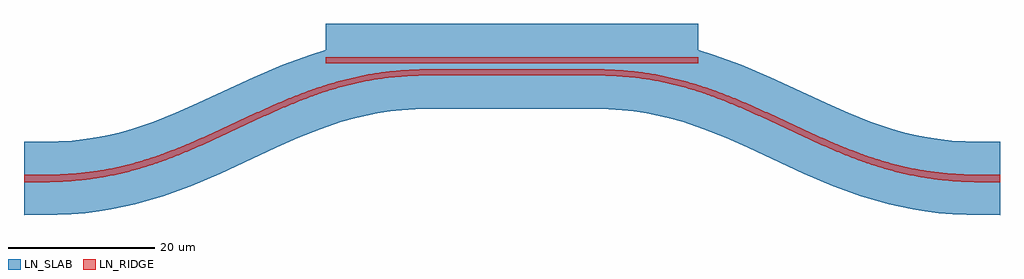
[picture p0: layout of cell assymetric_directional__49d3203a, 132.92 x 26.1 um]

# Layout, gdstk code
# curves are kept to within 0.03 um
from math import pi, radians
import gdstk
lib = gdstk.Library(unit=1e-6, precision=1e-09)
def R(c, l, rs):  # rectangles x0, y0, x1, y1
    for r in rs: c.add(gdstk.rectangle(r[:2], r[2:], *l))
def P(c, l, *ps):  # polygons
    for p in ps: c.add(gdstk.Polygon(p, *l))
LN_RIDGE = (2, 0)
LN_SLAB = (3, 0)

bend_s_spline_varying_w_ = lib.new_cell('bend_S_spline_varying_w_7b4ab9c9')
P(bend_s_spline_varying_w_, LN_RIDGE, [(0.58,-0.401),(0,-0.4),(0,0.4),(3.182,0.427),(5.199,0.5),(7.213,0.643),(9.224,0.872),(10.947,1.144),(12.956,1.556),(14.679,1.988),(16.978,2.677),(19.855,3.703),(23.026,5.006),(26.204,6.437),(32.581,9.414),(36.365,11.058),(38.407,11.859),(40.16,12.484),(43.379,13.459),(45.137,13.888),(46.896,14.242),(48.362,14.479),(50.12,14.696),(53.632,14.938),(58,15),(58,14),(53.092,13.931),(51.081,13.806),(49.072,13.597),(47.064,13.293),(45.056,12.889),(43.047,12.385),(41.035,11.782),(38.445,10.876),(35.272,9.598),(32.09,8.187),(25.122,4.968),(21.625,3.468),(18.12,2.153),(14.901,1.169),(13.144,0.733),(11.679,0.428),(9.921,0.131),(8.457,-0.06),(6.702,-0.226),(4.949,-0.33)])
P(bend_s_spline_varying_w_, LN_SLAB, [(0,-5),(0,5),(4.703,5.073),(6.543,5.19),(8.095,5.349),(9.89,5.611),(11.425,5.906),(12.967,6.269),(14.782,6.779),(17.686,7.765),(20.666,8.957),(23.73,10.314),(31.306,13.822),(35.271,15.507),(39.03,16.882),(40.941,17.477),(42.87,17.999),(46.105,18.69),(47.725,18.949),(49.661,19.186),(51.579,19.347),(53.469,19.442),(58,19.5),(58,9.5),(53.297,9.427),(51.457,9.31),(49.905,9.151),(48.11,8.889),(46.575,8.594),(45.033,8.231),(43.218,7.721),(40.314,6.735),(37.334,5.543),(34.27,4.186),(26.694,0.678),(22.729,-1.007),(18.97,-2.382),(17.059,-2.977),(15.13,-3.499),(11.895,-4.19),(10.275,-4.449),(8.339,-4.686),(6.421,-4.847),(4.531,-4.942)])

straight_l16p92_n2_csxs_ = lib.new_cell('straight_L16p92_N2_CSxs_37404e8b')
R(straight_l16p92_n2_csxs_, LN_RIDGE, [(0,-0.4,16.92,0.4)])
R(straight_l16p92_n2_csxs_, LN_SLAB, [(0,-5,16.92,5)])

assymetric_directional__ = lib.new_cell('assymetric_directional__49d3203a')
assymetric_directional__.add(gdstk.Reference(bend_s_spline_varying_w_, (-8.46,-0.8), rotation=pi))
assymetric_directional__.add(gdstk.Reference(straight_l16p92_n2_csxs_, (-8.46,0.8), rotation=pi, x_reflection=True))
assymetric_directional__.add(gdstk.Reference(bend_s_spline_varying_w_, (8.46,-0.8), x_reflection=True))
assymetric_directional__.add(gdstk.Reference(straight_l16p92_n2_csxs_, (-8.46,-0.8)))
assymetric_directional__.add(gdstk.Reference(straight_l16p92_n2_csxs_, (-8.46,0.8)))
assymetric_directional__.add(gdstk.Reference(straight_l16p92_n2_csxs_, (8.46,0.8)))

lib.write_gds('assymetric_directional__49d3203a.gds')
